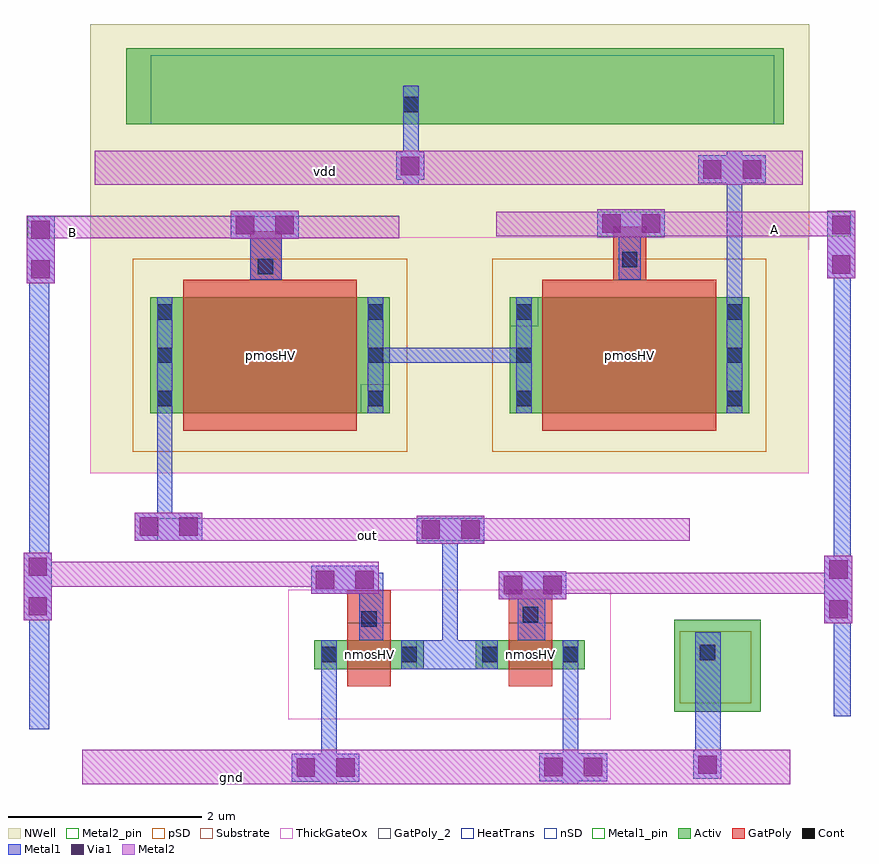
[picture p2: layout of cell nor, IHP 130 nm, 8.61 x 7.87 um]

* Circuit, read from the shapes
.subckt nor A B gnd out vdd
XM1 out B gnd gnd sg13_hv_nmos w=0.3u l=0.45u
XM2 gnd A out gnd sg13_hv_nmos w=0.3u l=0.45u
XM3 n1 B out vdd sg13_hv_pmos w=1.2u l=1.8u
XM4 vdd A n1 vdd sg13_hv_pmos w=1.2u l=1.8u
.ends

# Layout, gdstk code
import gdstk
lib = gdstk.Library(unit=1e-6, precision=1e-09)
def R(c, l, rs):  # rectangles x0, y0, x1, y1
    for r in rs: c.add(gdstk.rectangle(r[:2], r[2:], *l))
def A(c, l, x, y, w, h, nx, ny, dx, dy):  # array of equal rectangles
    R(c, l, [(x+i*dx, y+j*dy, x+i*dx+w, y+j*dy+h) for i in range(nx) for j in range(ny)])
def P(c, l, *ps):  # polygons
    for p in ps: c.add(gdstk.Polygon(p, *l))
Activ = (1, 0)
GatPoly = (5, 0)
GatPoly_2 = (5, 2)
Cont = (6, 0)
nSD = (7, 0)
Metal1 = (8, 0)
Metal1_pin = (8, 2)
Metal2 = (10, 0)
Metal2_pin = (10, 2)
pSD = (14, 0)
Via1 = (19, 0)
NWell = (31, 0)
Substrate = (40, 0)
ThickGateOx = (44, 0)
HeatTrans = (51, 0)

nor = lib.new_cell('nor')
R(nor, Activ, [(262.855,417.125,263.75,418.075), (259.13,417.565,259.43,417.865), (259.13,417.565,260.26,417.865), (259.96,417.565,260.26,417.865), (260.8,417.565,261.1,417.865), (260.8,417.565,261.93,417.865), (261.63,417.565,261.93,417.865), (257.43,420.215,257.73,420.515), (257.43,420.215,259.91,421.415), (259.61,420.215,259.91,420.515), (261.15,420.215,263.63,421.415), (261.15,421.115,261.45,421.415), (263.33,421.115,263.63,421.415), (257.18,423.205,263.99,423.995)])
R(nor, GatPoly, [(259.47,417.385,259.92,418.045), (261.14,417.385,261.59,418.045), (261.14,417.935,261.59,418.385), (259.47,417.965,259.92,418.38), (257.77,420.035,259.57,421.595), (261.49,420.035,263.29,421.595), (258.465,421.595,258.79,422.1), (262.225,421.595,262.565,422.145)])
R(nor, GatPoly_2, [(259.47,417.385,259.92,418.045), (261.14,417.385,261.59,418.045), (257.77,420.035,259.57,421.595), (261.49,420.035,263.29,421.595)])
A(nor, Cont, 257.5, 420.285, 0.16, 0.16, 1, 3, 0, 0.45)
A(nor, Cont, 259.68, 420.285, 0.16, 0.16, 1, 3, 0, 0.45)
A(nor, Cont, 261.22, 420.285, 0.16, 0.16, 1, 3, 0, 0.45)
A(nor, Cont, 263.4, 420.285, 0.16, 0.16, 1, 3, 0, 0.45)
R(nor, Cont, [(259.2,417.635,259.36,417.795), (260.03,417.635,260.19,417.795), (260.87,417.635,261.03,417.795), (261.7,417.635,261.86,417.795), (263.12,417.655,263.28,417.815), (259.615,418.005,259.775,418.165), (261.285,418.05,261.445,418.21), (258.545,421.655,258.705,421.815), (262.315,421.725,262.475,421.885), (260.05,423.33,260.21,423.49)])
R(nor, nSD, [(257.435,423.205,263.89,423.92)])
R(nor, Metal1, [(259.2,416.375,259.36,417.865), (261.7,416.375,261.86,417.865), (258.895,416.4,259.595,416.69), (261.46,416.405,262.16,416.695), (263.055,416.43,263.345,416.72), (263.075,416.43,263.335,417.515), (256.175,416.94,256.385,422.1), (264.51,417.075,264.685,422.235), (263.075,417.515,263.335,417.945), (259.2,417.565,259.36,417.865), (260.03,417.565,260.19,417.865), (260.87,417.565,261.03,417.865), (261.7,417.565,261.86,417.865), (259.595,417.865,259.845,418.565), (261.235,417.865,261.52,418.505), (264.41,418.04,264.7,418.74), (256.12,418.07,256.41,418.77), (261.04,418.29,261.74,418.58), (259.095,418.345,259.795,418.635), (260.19,418.865,260.89,419.155), (257.27,418.895,257.97,419.185), (257.5,418.895,257.66,420.285), (257.5,420.215,257.66,421.415), (259.68,420.215,259.84,421.415), (261.22,420.215,261.38,421.415), (263.4,420.215,263.56,422.935), (263.4,420.215,263.56,421.415), (259.68,420.735,261.38,420.895), (256.15,421.56,256.44,422.26), (258.465,421.595,258.79,422.1), (262.28,421.595,262.51,422.14), (264.44,421.61,264.73,422.31), (258.265,422.02,258.965,422.31), (262.06,422.035,262.76,422.325), (258.465,422.07,258.79,422.26), (262.28,422.09,262.51,422.3), (260.05,422.58,260.21,423.605), (263.105,422.595,263.805,422.885), (259.975,422.63,260.265,422.92)])
P(nor, Metal1, [(260.03,417.565),(260.03,417.865),(260.455,417.865),(260.455,419.125),(260.615,419.125),(260.615,417.865),(261.03,417.865),(261.03,417.565)])
R(nor, Metal1_pin, [(259.2,417.565,259.36,417.865), (260.03,417.565,260.19,417.865), (260.87,417.565,261.03,417.865), (261.7,417.565,261.86,417.865), (257.5,420.215,257.66,421.415), (259.68,420.215,259.84,421.415), (261.22,420.215,261.38,421.415), (263.4,420.215,263.56,421.415)])
R(nor, Metal2, [(256.725,416.375,264.055,416.73), (258.895,416.4,259.595,416.69), (261.46,416.405,262.16,416.695), (263.055,416.43,263.345,416.72), (264.41,418.04,264.7,418.74), (256.12,418.07,256.41,418.77), (261.04,418.29,261.74,418.58), (259.095,418.345,259.795,418.635), (261.215,418.345,264.69,418.56), (256.175,418.415,259.795,418.675), (260.19,418.865,260.89,419.155), (257.27,418.895,257.97,419.185), (257.5,418.895,263.015,419.125), (256.15,421.56,256.44,422.26), (264.44,421.61,264.73,422.31), (258.265,422.02,258.965,422.31), (256.16,422.025,260.01,422.26), (262.06,422.035,262.76,422.325), (261.015,422.045,264.685,422.3), (256.855,422.58,264.185,422.935), (263.105,422.595,263.805,422.885), (259.975,422.63,260.265,422.92)])
R(nor, Metal2_pin, [(256.725,416.375,264.055,416.73), (257.5,418.895,263.015,419.125), (256.16,422.025,260.01,422.255), (261.015,422.045,264.685,422.3), (256.855,422.58,264.185,422.935)])
R(nor, pSD, [(262.915,417.21,263.655,417.955), (257.25,419.815,260.09,421.815), (260.97,419.815,263.81,421.815)])
R(nor, Via1, [(258.945,416.45,259.135,416.64), (259.355,416.45,259.545,416.64), (261.51,416.455,261.7,416.645), (261.92,416.455,262.11,416.645), (263.105,416.48,263.295,416.67), (264.46,418.09,264.65,418.28), (256.17,418.12,256.36,418.31), (261.09,418.34,261.28,418.53), (261.5,418.34,261.69,418.53), (259.145,418.395,259.335,418.585), (259.555,418.395,259.745,418.585), (264.46,418.5,264.65,418.69), (256.17,418.53,256.36,418.72), (260.24,418.915,260.43,419.105), (260.65,418.915,260.84,419.105), (257.32,418.945,257.51,419.135), (257.73,418.945,257.92,419.135), (256.2,421.61,256.39,421.8), (264.49,421.66,264.68,421.85), (256.2,422.02,256.39,422.21), (258.315,422.07,258.505,422.26), (258.725,422.07,258.915,422.26), (264.49,422.07,264.68,422.26), (262.11,422.085,262.3,422.275), (262.52,422.085,262.71,422.275), (263.155,422.645,263.345,422.835), (263.565,422.645,263.755,422.835), (260.025,422.68,260.215,422.87)])
R(nor, NWell, [(256.81,419.595,260.53,422.035), (260.53,419.595,264.25,422.035), (256.81,421.905,264.255,424.245)])
R(nor, Substrate, [(259.61,420.215,259.91,420.515), (261.15,421.115,261.45,421.415)])
R(nor, ThickGateOx, [(258.86,417.045,260.53,418.385), (260.53,417.045,262.2,418.385), (256.81,419.595,260.53,422.035), (260.53,419.595,264.25,422.035)])
R(nor, HeatTrans, [(259.47,417.385,259.92,418.045), (261.14,417.385,261.59,418.045), (257.77,420.035,259.57,421.595), (261.49,420.035,263.29,421.595)])
nor.add(gdstk.Label('pmosHV', (262.39,420.815), layer=63, texttype=0))
nor.add(gdstk.Label('pmosHV', (258.67,420.815), layer=63, texttype=0))
nor.add(gdstk.Label('nmosHV', (259.695,417.715), layer=63, texttype=0))
nor.add(gdstk.Label('nmosHV', (261.365,417.715), layer=63, texttype=0))
nor.add(gdstk.Label('pmos', (262.39,420.815), layer=51, texttype=0))
nor.add(gdstk.Label('pmos', (258.67,420.815), layer=51, texttype=0))
nor.add(gdstk.Label('nmosHV', (259.695,417.715), layer=51, texttype=0))
nor.add(gdstk.Label('nmosHV', (261.365,417.715), layer=51, texttype=0))
nor.add(gdstk.Label('A', (263.895,422.115), layer=10, texttype=25))
nor.add(gdstk.Label('B', (256.625,422.085), layer=10, texttype=25))
nor.add(gdstk.Label('gnd', (258.275,416.44), layer=10, texttype=25))
nor.add(gdstk.Label('vdd', (259.245,422.72), layer=10, texttype=25))
nor.add(gdstk.Label('out', (259.68,418.95), layer=10, texttype=25))

lib.write_gds('nor.gds')
